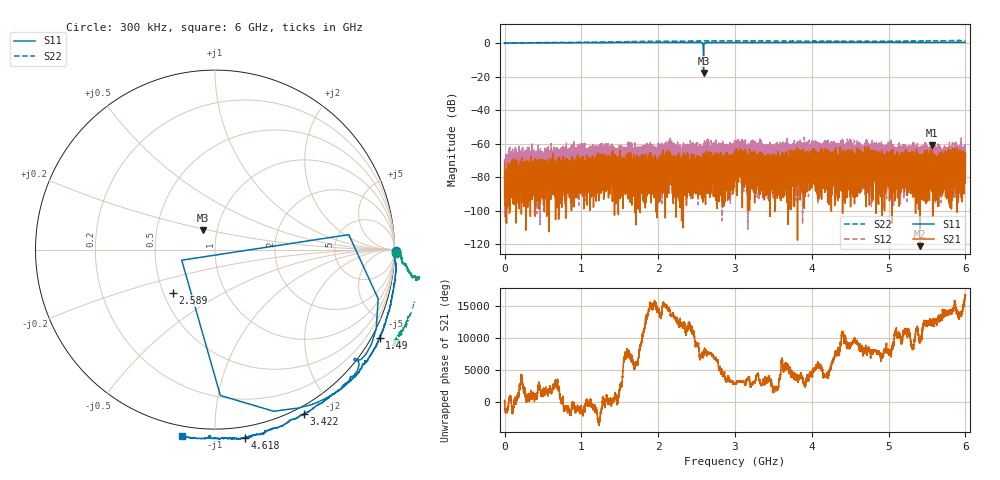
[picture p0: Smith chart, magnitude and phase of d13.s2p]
!Agilent Technologies,N5230C,SG49000117,A.08.50.07
!Agilent N5230C: A.08.50.07
!Date: Thursday, May 16, 2024 19:36:50
!Correction: S11(Full 2 Port(1,2))
!S21(Full 2 Port(1,2))
!S12(Full 2 Port(1,2))
!S22(Full 2 Port(1,2))
!S2P File: Measurements: S11, S21, S12, S22:
# Hz S  MA  R 50
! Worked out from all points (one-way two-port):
!   20001 points, 300 kHz to 6 GHz, reference 50 ohm
!   highest |S21| = -61.05 dB at 5.561 GHz (marker M1); lowest = -121.1 dB at 5.409 GHz (marker M2)
!   lowest |S11| = -17.8 dB at 2.59 GHz (marker M3), VSWR 1.30, Z = 42.6 + j9.51 ohm
!   |S11| at or under -10 dB: 2.589249 GHz to 2.591224 GHz (1.974 MHz wide, 0.0762 % of centre)
!   |S22| runs from -0.3 to 1.6 dB; largest |S21 - S12| = 0.002
!   S11 on the Smith chart (normalised r, x): 300 kHz: open; 1.49 GHz: -0.34, -3.96; 2.589 GHz: 0.56, -0.30; 3.422 GHz: -0.08, -1.67; 4.618 GHz: -0.07, -1.17; 6 GHz: -0.05, -0.83
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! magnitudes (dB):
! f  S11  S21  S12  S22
! 300 kHz  0.1  -71.1  -68.9  0.1
! 30.6 MHz  0.0  -79.7  -71.5  0.0
! 118.2 MHz  0.0  -84.1  -78.2  0.1
! 1 GHz  0.2  -82.1  -71.6  0.5
! 1.49 GHz  0.4  -78.7  -61.2  0.8
! 2 GHz  0.4  -88.0  -76.8  1.1
! 2.131 GHz  0.4  -75.7  -65.6  1.2
! 2.306 GHz  0.4  -75.3  -77.5  1.2
! 2.589 GHz  -9.5  -84.2  -74.6  1.3
! 2.59 GHz  -17.8  -70.9  -94.0  1.3
! 3 GHz  0.3  -71.3  -72.5  1.3
! 3.069 GHz  0.3  -63.2  -63.6  1.3
! 3.167 GHz  0.3  -72.7  -63.7  1.3
! 3.422 GHz  0.4  -70.1  -68.0  1.2
! 4 GHz  0.4  -74.3  -68.3  1.2
! 4.618 GHz  0.5  -80.0  -78.2  1.1
! 5 GHz  0.5  -73.4  -60.0  1.1
! 5.409 GHz  0.4  -121.1  -67.3  1.2
! 5.561 GHz  0.4  -61.1  -68.8  1.4
! 5.886 GHz  0.5  -71.3  -68.9  1.5
! 5.97 GHz  0.4  -85.7  -75.7  1.5
! 6 GHz  0.5  -66.5  -79.2  1.5
